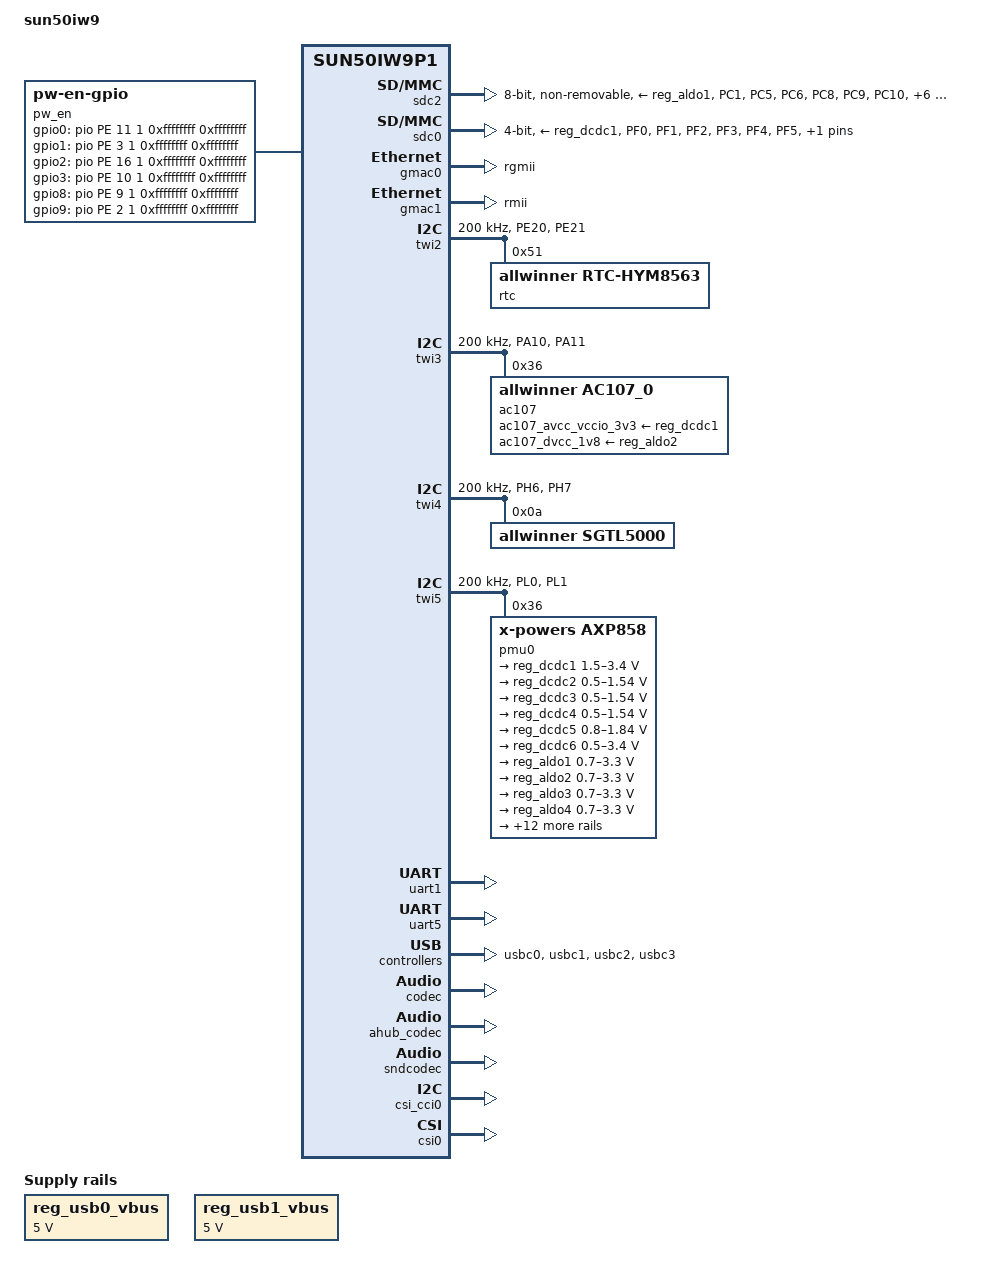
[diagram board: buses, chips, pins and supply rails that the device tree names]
/*
 * Allwinner Technology CO., Ltd. sun8iw19p1 soc board.
 *
 * soc board support.
 */

/dts-v1/;
#include <dt-bindings/input/input.h>
#include "sun50iw9p1.dtsi"               
//#include "rp-lcd-lvds-10.1-1024-600.dtsi"
//#include "rp-lcd-rgb-7-1024-600.dtsi"
//#include "rp-lcd-lvds-21-1920-1080.dtsi"
//#include "rp-lcd-lvds-10.1-1024-600-hdmi.dtsi"
//#include "rp-hdmi.dtsi"
#include "rp-tv.dtsi"

/{
	model = "sun50iw9";
	compatible = "allwinner,t507", "arm,sun50iw9p1";

	reg_usb0_vbus: usb0-vbus {
		compatible = "regulator-fixed";
//		gpio = <&pio PE 2 1 2 0 1>;
		regulator-name = "usb-vbus";
		regulator-min-microvolt = <5000000>;
		regulator-max-microvolt = <5000000>;
		enable-active-high;
	};

	reg_usb1_vbus: usb1-vbus {
		compatible = "regulator-fixed";
//		gpio = <&pio PE 3 1 2 0 1>;
		regulator-name = "usb-vbus";
		regulator-min-microvolt = <5000000>;
		regulator-max-microvolt = <5000000>;
		enable-active-high;
	};
	
       pw_en {
               compatible = "pw-en-gpio";
               gpio0 = <&pio PE 11 1 0xffffffff 0xffffffff 1>;// 5v 3.3V
               gpio1 = <&pio PE 3 1 0xffffffff 0xffffffff 1>; //USB 5V
               gpio2 = <&pio PE 16 1 0xffffffff 0xffffffff 1>;// hub reset
               gpio3 = <&pio PE 10 1 0xffffffff 0xffffffff 1>;// fan
//               gpio4 = <&pio PH 4 1 0xffffffff 0xffffffff 1>;// 
//               gpio5 = <&pio PE 2 1 0xffffffff 0xffffffff 1>;//
//               gpio6 = <&pio PE 16 1 0xffffffff 0xffffffff 1>;// 
//               gpio7 = <&pio PE 2 1 0xffffffff 0xffffffff 1>;//
               gpio8 = <&pio PE 9 1 0xffffffff 0xffffffff 0>;// otg mode
               gpio9 = <&pio PE 2 1 0xffffffff 0xffffffff 0>;// otg pwr
	       pinctrl-0 = <&pwr_pins>;
               status = "okay";
       };
       
       
        rp_gpio{
                status = "okay";
                compatible = "rp_gpio";
                
//                ctp_wakeup = <&pio PH 7 1 0xffffffff 0xffffffff 1>;
/*                
								otg_mode {
						                        gpio_num = <&gpio4 RK_PC5 GPIO_ACTIVE_HIGH>;
						                        gpio_function = <0>;            //0:output 1:input
						                        //gpio_event = <KEY_F14>;
						                        //send_mode = <0>;
								};


                led {
                        gpio_num = <&gpio1 RK_PA2 GPIO_ACTIVE_HIGH>;
                        gpio_function = <0>;            //0:output 1:input
                        //gpio_event = <KEY_F14>;
                        //send_mode = <0>;  
                };
*/               

                led {
                        gpio_num = <&pio PE 19 1 0xffffffff 0xffffffff 1>;
                        gpio_function = <0>;            //0:output 1:input 2:IRQ 3:flash
                        //gpio_event = <KEY_F14>;
                        //send_mode = <0>;  
                };

		/*                
                gpiope12 {
                        gpio_num = <&pio PE 12 1 0xffffffff 0xffffffff 1>;
                        gpio_function = <0>;            //0:output 1:input
//                        gpio_event = <KEY_F8>;
//                        send_mode = <0>;  
                };
               
                gpiope18 {
                        gpio_num = <&pio PE 18 1 0xffffffff 0xffffffff 1>;
                        gpio_function = <0>;            //0:output 1:input
//                        gpio_event = <KEY_F9>;
//                        send_mode = <0>;  
                };
                gpiope19 {
                        gpio_num = <&pio PE 19 1 0xffffffff 0xffffffff 1>;
                        gpio_function = <0>;            //0:output 1:input
//                        gpio_event = <KEY_F10>;
//                        send_mode = <0>;  
                };
                
                gpiope22 {
                        gpio_num = <&pio PE 22 1 0xffffffff 0xffffffff 1>;
                        gpio_function = <0>;            //0:output 1:input
//                        gpio_event = <KEY_F11>;
//                        send_mode = <0>;  
                };
		*/

	};


	soc@03000000 {

		r_pio: pinctrl@07022000 {

			s_twi0_pins_a: s_twi0@0 {
				allwinner,pins = "PL0", "PL1";
				allwinner,pname = "s_twi0_scl", "s_twi0_sda";
				allwinner,function = "s_twi0";
				allwinner,muxsel = <3>;
				allwinner,drive = <0>;
				allwinner,pull = <1>;
			};

			s_twi0_pins_b: s_twi0@1 {
				allwinner,pins = "PL0", "PL1";
				allwinner,function = "io_disabled";
				allwinner,muxsel = <7>;
				allwinner,drive = <0>;
				allwinner,pull = <0>;
			};
		};

		pio: pinctrl@0300b000 {

			/* takes the debounce time in usec as argument */
			input-debounce = <0 0 0 0 0 0 1>;

			spi0_pins_a: spi0@0 {
				allwinner,pins = "PC0", "PC2", "PC4";
				allwinner,pname = "spi0_sclk", "spi0_mosi", "spi0_miso";
				allwinner,function = "spi0";
			};

			spi0_pins_b: spi0@1 {
				allwinner,pins = "PC3", "PC7";
				allwinner,pname = "spi0_cs0", "spi0_cs1";
				allwinner,function = "spi0";
			};

			spi0_pins_c: spi0@2 {
				allwinner,pins = "PC0", "PC2", "PC3", "PC4", "PC7";
				allwinner,function = "io_disabled";
			};

			spi1_pins_a: spi1@0 {
				allwinner,pins = "PH6", "PH7", "PH8";
				allwinner,pname = "spi1_sclk", "spi1_mosi", "spi1_miso";
				allwinner,function = "spi1";
			};

			spi1_pins_b: spi1@1 {
				allwinner,pins = "PH5", "PH9";
				allwinner,pname = "spi1_cs0", "spi1_cs1";
				allwinner,function = "spi1";
			};

			spi1_pins_c: spi1@2 {
				allwinner,pins = "PH5", "PH6", "PH7", "PH8", "PH9";
				allwinner,function = "io_disabled";
			};

			twi0_pins_a: twi0@0 {
				allwinner,pins = "PA0", "PA1";
				allwinner,pname = "twi0_scl", "twi0_sda";
				allwinner,function = "twi0";
				allwinner,muxsel = <4>;
				allwinner,drive = <0>;
				allwinner,pull = <0>;
			};

			twi0_pins_b: twi0@1 {
				allwinner,pins = "PA0", "PA1";
				allwinner,function = "io_disabled";
				allwinner,muxsel = <7>;
				allwinner,drive = <0>;
				allwinner,pull = <0>;
			};

			twi1_pins_a: twi1@0 {
				allwinner,pins = "PI7", "PI8";
				allwinner,pname = "twi1_scl", "twi1_sda";
				allwinner,function = "twi1";
				allwinner,muxsel = <5>;
				allwinner,drive = <1>;
				allwinner,pull = <1>;
			};

			twi1_pins_b: twi1@1 {
				allwinner,pins = "PI7", "PI8";
				allwinner,function = "io_disabled";
				allwinner,muxsel = <7>;
				allwinner,drive = <1>;
				allwinner,pull = <0>;
			};

			twi2_pins_a: twi2@0 {
				allwinner,pins = "PE20", "PE21";
				allwinner,pname = "twi2_scl", "twi2_sda";
				allwinner,function = "twi2";
				allwinner,muxsel = <5>;
				allwinner,drive = <1>;
				allwinner,pull = <1>;
			};

			twi2_pins_b: twi2@1 {
				allwinner,pins = "PE20", "PE21";
				allwinner,function = "io_disabled";
				allwinner,muxsel = <7>;
				allwinner,drive = <0>;
				allwinner,pull = <0>;
			};

			twi3_pins_a: twi3@0 {
				allwinner,pins = "PA10", "PA11";
				allwinner,pname = "twi3_scl", "twi3_sda";
				allwinner,function = "twi3";
				allwinner,muxsel = <2>;
				allwinner,drive = <0>;
				allwinner,pull = <1>;
			};

			twi3_pins_b: twi3@1 {
				allwinner,pins = "PA10", "PA11";
				allwinner,function = "io_disabled";
				allwinner,muxsel = <7>;
				allwinner,drive = <0>;
				allwinner,pull = <0>;
			};

			twi4_pins_a: twi4@0 {
				allwinner,pins = "PH6", "PH7";
				allwinner,pname = "twi4_scl", "twi4_sda";
				allwinner,function = "twi4";
				allwinner,muxsel = <5>;
				allwinner,drive = <1>;
				allwinner,pull = <1>;
			};

			twi4_pins_b: twi4@1 {
				allwinner,pins = "PH6", "PH7";
				allwinner,function = "io_disabled";
				allwinner,muxsel = <7>;
				allwinner,drive = <1>;
				allwinner,pull = <0>;
			};

                        ahub_daudio2_pins_a: ahub_daudio2@0 {
                                allwinner,pins = "PG10", "PG11", "PG12", "PG13", "PG14";
                                allwinner,function = "h_i2s2";
                                allwinner,muxsel = <2>;
                                allwinner,drive = <1>;
                                allwinner,pull = <0>;
                        };

                        ahub_daudio2_pins_b: ahub_daudio2_sleep@0 {
                                allwinner,pins = "PG10", "PG11", "PG12", "PG13", "PG14";
                                allwinner,function = "io_disabled";
                                allwinner,muxsel = <7>;
                                allwinner,drive = <1>;
                                allwinner,pull = <0>;
                        };

			scr0_pins_a: scr0@0 {
				allwinner,pins = "PD17", "PD18", "PD14", "PD15", "PD16";
				allwinner,pname = "scr0_rst", "scr0_det", "scr0_vccen", "scr0_sck", "scr0_sda";
			};

			sdc0_pins_a: sdc0@0 {
				allwinner,pins = "PF0", "PF1", "PF2",
						 "PF3", "PF4", "PF5";
				allwinner,function = "sdc0";
				allwinner,muxsel = <2>;
				allwinner,drive = <3>;
				allwinner,pull = <1>;
			};

			sdc0_pins_c: sdc0@2 {
				allwinner,pins = "PF0", "PF1",
						 "PF3", "PF5";
				allwinner,function = "uart0_jtag";
				allwinner,muxsel = <3>;
				allwinner,drive = <1>;
				allwinner,pull = <1>;
			};

			sdc1_pins_a: sdc1@0 {
				allwinner,pins = "PG0", "PG1", "PG2",
						 "PG3", "PG4", "PG5";
				allwinner,function = "sdc1";
				allwinner,muxsel = <2>;
				allwinner,drive = <3>;
				allwinner,pull = <1>;
			};

			sdc2_pins_a: sdc2@0 {
				allwinner,pins = "PC1", "PC5", "PC6",
						 "PC8", "PC9", "PC10", "PC11",
						 "PC13", "PC14", "PC15", "PC16";
				allwinner,function = "sdc2";
				allwinner,muxsel = <3>;
				allwinner,drive = <2>;
				allwinner,pull = <1>;
			};

			sdc2_pins_b: sdc2@1 {
				allwinner,pins = "PC0", "PC1", "PC5", "PC6",
						 "PC8", "PC9", "PC10", "PC11",
						 "PC13", "PC14", "PC15", "PC16";
				allwinner,function = "io_disabled";
				allwinner,muxsel = <7>;
				allwinner,drive = <1>;
				allwinner,pull = <1>;
			};

			sdc2_pins_c: sdc2@2 {
				allwinner,pins = "PC0";
				allwinner,function = "sdc2";
				allwinner,muxsel = <3>;
				allwinner,drive = <2>;
				allwinner,pull = <2>;
			};

			pwm0_pin_a: pwm0@0 {
				allwinner,pins = "PD28";
				allwinner,function = "pwm0";
				allwinner,muxsel = <0x02>;
				allwinner,drive = <0xffffffff>;
				allwinner,pull = <1>;
				allwinner,data = <0xffffffff>;
			};

			pwm0_pin_b: pwm0@1 {
				allwinner,pins = "PD28";
				allwinner,function = "io_disabled";
				allwinner,muxsel = <0x07>;
				allwinner,drive = <0xffffffff>;
				allwinner,pull = <0>;
				allwinner,data = <0xffffffff>;
			};
		};

		spi0: spi@05010000 {
			pinctrl-0 = <&spi0_pins_a &spi0_pins_b>;
			pinctrl-1 = <&spi0_pins_c>;
			spi_slave_mode = <0>;
			status = "disabled";
			spi_board0 {
				device_type = "spi_board0";
				compatible = "spidev";
				spi-max-frequency = <0x5f5e100>;
				reg = <0x0>;
			};
		};

		spi1: spi@05011000 {
			pinctrl-0 = <&spi1_pins_a &spi1_pins_b>;
			pinctrl-1 = <&spi1_pins_c>;
			spi_slave_mode = <0>;
			status = "disabled";
			spi_board1 {
				device_type = "spi_board1";
				compatible = "rohm,dh2228fv";
				spi-max-frequency = <0x5f5e100>;
				reg = <0x0>;
				spi-rx-bus-width = <0x1>;
				spi-tx-bus-width = <0x1>;
			};
		};

		sdc2: sdmmc@04022000 {
			pinctrl-0 = <&sdc2_pins_a &sdc2_pins_c>;
			non-removable;
			bus-width = <8>;
			mmc-ddr-1_8v;
			mmc-hs200-1_8v;
			mmc-hs400-1_8v;
			no-sdio;
			no-sd;
			cap-mmc-highspeed;
			sunxi-power-save-mode;
			sunxi-dis-signal-vol-sw;
			max-frequency = <100000000>;
			ctl-spec-caps = <0x308>;
			vmmc-supply = <&reg_aldo1>;
			vqmmc-supply = <&reg_dcdc1>;
			status = "okay";
		};

		sdc0: sdmmc@04020000 {
			pinctrl-0 = <&sdc0_pins_a>;
			bus-width = <4>;
			cd-gpios = <&pio PF 6 6 1 3 0xffffffff>;
			cd-used-24M;
			/*non-removable;*/
			/*broken-cd;*/
			/*cd-inverted*/
			/*data3-detect;*/
			cap-sd-highspeed;
			sd-uhs-sdr50;
			sd-uhs-ddr50;
			sd-uhs-sdr104;
			no-sdio;
			no-mmc;
			sunxi-power-save-mode;
			sunxi-signal-vol-sw-without-pmu;
			/*sunxi-dis-signal-vol-sw;*/
			max-frequency = <150000000>;
			ctl-spec-caps = <0x8>;
			vmmc-supply = <&reg_dcdc1>;
			vqmmc33sw-supply = <&reg_dcdc1>;
			vdmmc33sw-supply = <&reg_dcdc1>;
			vqmmc18sw-supply = <&reg_aldo2>;
			vdmmc18sw-supply = <&reg_aldo2>;
			status = "okay";
		};

		sdc1: sdmmc@04021000 {
			pinctrl-0 = <&sdc1_pins_a>;
			bus-width = <4>;
			no-mmc;
			no-sd;
			cap-sd-highspeed;
			/*sd-uhs-sdr12*/
			/*sd-uhs-sdr25*/
			/*sd-uhs-sdr50;*/
			/*sd-uhs-ddr50;*/
			/*sd-uhs-sdr104*/
			/*sunxi-power-save-mode;*/
			sunxi-dis-signal-vol-sw;
			cap-sdio-irq;
			keep-power-in-suspend;
			ignore-pm-notify;
			max-frequency = <50000000>;
			ctl-spec-caps = <0x8>;
			status = "disabled";
		};

		gmac0: eth@05020000{
			phy-mode = "rgmii";
			phy-rst = <&pio PI 6 1 1 1 0>;
			use_ephy25m = <1>;
			tx-delay = <2>;
			rx-delay = <23>;
			gmac-power0-supply = <&reg_cldo3>;
			gmac-power1-supply;
			gmac-power2-supply;
			gmac-power0-vol = <3300000>;
			gmac-power1-vol;
			gmac-power2-vol;
			status = "okay";
		};

		gmac1: eth@05030000{
			phy-mode = "rmii";
			phy-rst = <&pio PH 5 1 1 1 0>;
			use_ephy25m = <0>;
			tx-delay = <7>;
			rx-delay = <0>;
			gmac-power0-supply = <&reg_cldo3>;
			gmac-power1-supply;
			gmac-power2-supply;
			gmac-power0-vol = <3300000>;
			gmac-power1-vol;
			gmac-power2-vol;
			status = "okay";
		};

		twi0: twi@0x05002000{
			clock-frequency = <400000>;
			pinctrl-0 = <&twi0_pins_a>;
			pinctrl-1 = <&twi0_pins_b>;
			twi-supply = <&reg_dcdc1>;
			status = "disabled";
		};

		twi1: twi@0x05002400{
			clock-frequency = <200000>;
			pinctrl-0 = <&twi1_pins_a>;
			pinctrl-1 = <&twi1_pins_b>;
			twi-supply = <&reg_cldo3>;
			status = "disabled";

			it6807 {
				compatible = "allwinner,it6807_0";
				device_type = "it6807_0";
				reg = <0x48>;
				status = "disabled";
				it6807_twi_id = <0x1>;
				it6807_twi_addr = <0x48>;
				it6807_reset = <&pio PI 0 1 0xffffffff 0xffffffff 0>;
				it6807_backlight = <&pio PI 11 1 0xffffffff 0xffffffff 0>;
				it6807_hdmi_vcc_3v3-supply = <&reg_sw>;
				it6807_vcc_3v3-supply = <&reg_bldo3>;
			};
		};

		twi2: twi@0x05002800{
			clock-frequency = <200000>;
			pinctrl-0 = <&twi2_pins_a>;
			pinctrl-1 = <&twi2_pins_b>;
			twi-supply = <&reg_dcdc1>;
			status = "okay";
/*			
			pcf8563: rtc@51 {
				compatible = "nxp,pcf8563";
				reg = <0x51>;
			};
*/			
			rtc@51 {
                compatible = "allwinner,rtc-hym8563";
//                compatible = "haoyu,hym8563";
                reg = <0x51>;
            }; 
			 
			
		};

		twi3: twi@0x05002c00{
			clock-frequency = <200000>;
			pinctrl-0 = <&twi3_pins_a>;
			pinctrl-1 = <&twi3_pins_b>;
			twi-supply = <&reg_dcdc1>;
			status = "okay";
			/* audio: add ac107 capture */
			ac107@36 {
				compatible = "allwinner,ac107_0";
				device_type = "ac107_0";
				reg = <0x36>;
				ac107_avcc_vccio_3v3-supply = <&reg_dcdc1>;
				ac107_dvcc_1v8-supply = <&reg_aldo2>;
			};

		};

		twi4: twi@0x05003000{
			clock-frequency = <200000>;
			pinctrl-0 = <&twi4_pins_a>;
			pinctrl-1 = <&twi4_pins_b>;
			twi-supply = <&reg_cldo2>;
			status = "okay";
			
			sgtl5000@2a {
				compatible = "allwinner,sgtl5000";
				device_type = "sgtl5000";
				clocks = <&clk_pll_audio>;	
				reg = <0x0a>;
				pinctrl-0     = <&ahub_daudio2_pins_a>;
				pinctrl-names = "default";
			        micbias-resistor-k-ohms = <4>;
                                micbias-voltage-m-volts = <2250>;
	
				//ac107_avcc_vccio_3v3-supply = <&reg_dcdc1>;
				//ac107_dvcc_1v8-supply = <&reg_aldo2>;
			};

			ncs8801s_two_1 {
				compatible = "allwinner,ncs8801s_two";
				reg = <0x70>;
				device_type = "ncs8801s_0";
				status = "disabled";
				ncs8801s_two_twi_id = <0x5>;
				ncs8801s_two_twi_addr = <0x70>;
				ncs8801s_two_reset = <&pio PE 17 1 0xffffffff 0xffffffff 0>;
				ncs8801s-supply = <&reg_aldo5>;
				nsc8801s_power_vol = <1200>;
			};

			ncs8801s_two_2 {
				compatible = "allwinner,ncs8801s_two";
				reg = <0x75>;
				device_type = "ncs8801s_1";
				status = "disabled";
				ncs8801s_two_2_twi_id = <0x5>;
				ncs8801s_two_2_twi_addr = <0x75>;
			};
			
		};

		twi5: twi@0x07081400{
			clock-frequency = <200000>;
			pinctrl-0 = <&s_twi0_pins_a>;
			pinctrl-1 = <&s_twi0_pins_b>;
			status = "okay";
		};

		pwm0: pwm0@0300a000 {
			pinctrl-names = "active", "sleep";
			pinctrl-0 = <&pwm0_pin_a>;
			pinctrl-1 = <&pwm0_pin_b>;
		};

		/*
		sdc1: sdmmc@04021000 {
			status = "okay";
		};
		*/

		uart1: uart@05000400 {
			status = "okay";
		};
		
		
		uart2: uart@05000800 {
			uart2_type = <2>;
			status = "disabled";
		};

		uart3: uart@05000c00 {
			uart3_type = <2>;
			status = "disabled";
		};

		uart4: uart@05001000 {
			uart-supply = <&reg_cldo3>;
			uart4_type = <2>;
			status = "disabled";
		};

		uart5: uart@05001400 {
			uart5_type = <2>;
			status = "okay";
		};

		tda7729 {
			device_type = "tda7729";
			status = "okay";
			tda7729_twi_id = <0x1>;
			twi_addr = <0x44>;
//			tda7729_power = <&pio PH 9 1 0xffffffff 0xffffffff 0>;
		};

		ncs8801s {
			device_type = "ncs8801s_0";
			status = "okay";
			ncs8801s_reset = <&pio PE 17 1 0xffffffff 0xffffffff 0>;
		};

		wlan:wlan {
			compatible    = "allwinner,sunxi-wlan";
			clocks        = <&clk_losc_out>;
			pinctrl-0     = <&clk_losc_pins_a>;
			pinctrl-names = "default";
			wlan_busnum   = <0x1>;
			wlan_power    = "axp858-dcdc1";
			wlan_io_regulator = "axp858-cldo2";
			wlan_regon    = <&pio PE 5 1 0xffffffff 0xffffffff 1>;
			wlan_hostwake = <&pio PE 4 6 0xffffffff 0xffffffff 1>;
			chip_en;
			power_en;
			status        = "disabled";
		};

		bt:bt {
			compatible    = "allwinner,sunxi-bt";
			clocks        = <&clk_losc_out>;
			bt_power      = "axp858-dcdc1";
			bt_io_regulator = "axp858-cldo2";
			bt_rst_n      = <&pio PE 8 1 0xffffffff 0xffffffff 0>;
			status        = "disabled";
		};

		btlpm:btlpm {
			compatible  = "allwinner,sunxi-btlpm";
			uart_index  = <0x1>;
			bt_wake     = <&pio PE 7 1 0xffffffff 0xffffffff 1>;
			bt_hostwake = <&pio PE 6 6 0xffffffff 0xffffffff 0>;
			status      = "disabled";
		};
		car_reverse:car_reverse {
			compatible  = "allwinner,sunxi-car-reverse";
			tvd_id  = <0x5>;
			screen_width = <1280>;
			screen_height = <800>;
			rotation = <0x0>;
			source = <0x1>;
			oview = <0x0>;
			reverse_pin = <&pio PI 15 6 0 1 0>;
			status      = "disabled";
		};
		addr_mgt:addr_mgt {
			compatible     = "allwinner,sunxi-addr_mgt";
			type_addr_wifi = <0x0>;
			type_addr_bt   = <0x0>;
			type_addr_eth  = <0x0>;
			status         = "okay";
		};

		usbc0:usbc0@0 {
			device_type		= "usbc0";
			usb_port_type		= <0x2>;
			usb_detect_type		= <0x1>;
			usb_detect_mode		= <0x0>;
			usb_id_gpio		= <&pio PE 0 0 1 0 0>;
			usb_det_vbus_gpio	= <&pio PE 1 0 1 0 0>;
			usb_regulator_io	= "nocare";
			usb_wakeup_suspend	= <0x0>;
			usb_luns		= <0x3>;
			usb_serial_unique	= <0x0>;
			usb_serial_number	= "20080411";
			status			= "okay";
		};

		ehci0:ehci0-controller@0x05101000 {
			drvvbus-supply = <&reg_usb0_vbus>;
		};

		ohci0:ohci0-controller@0x05101400 {
			drvvbus-supply = <&reg_usb0_vbus>;
		};

		usbc1:usbc1@0 {
			device_type		= "usbc1";
			usb_regulator_io	= "nocare";
			usb_wakeup_suspend	= <0x0>;
			status			= "okay";
		};

		ehci1:ehci1-controller@0x05200000 {
			drvvbus-supply = <&reg_usb1_vbus>;
		};

		ohci1:ohci1-controller@0x05200400 {
			drvvbus-supply = <&reg_usb1_vbus>;
		};

		usbc2:usbc2@0 {
			device_type		= "usbc2";
			usb_drv_vbus_gpio;
			usb_regulator_io	= "nocare";
			usb_wakeup_suspend	= <0x0>;
			status			= "okay";
		};

		usbc3:usbc3@0 {
			device_type		= "usbc3";
			usb_drv_vbus_gpio;
			usb_regulator_io	= "nocare";
			usb_wakeup_suspend	= <0x0>;
			status			= "okay";
		};

		/* audio dirver module */
		codec:codec@0x05096000 {
			adcdrc_cfg  = <0x00>;
			adchpf_cfg  = <0x00>;
			dacdrc_cfg  = <0x00>;
			dachpf_cfg  = <0x00>;
			fmin_gain   = <0x03>;
			linein_gain = <0x03>;
			digital_vol = <0x00>;
			lineout_vol = <0x1f>;
			/* gpio-spk */
//			gpio-spk = <&pio PH 9 1 0xffffffff 0xffffffff 0>;
			gpio-spk = <&pio PE 13 1 0xffffffff 0xffffffff 0>;
			pa_ctl_level   = <0x01>;
			pa_msleep_time = <0x78>;
			ramp_func_used = <0x01>;
			avcc-supply = <&reg_aldo2>;
			status = "okay";
		};

		spdif:spdif-controller@0x05093000{
			status = "disabled";
		};

		dmic:dmic-controller@0x05095000{
			status = "disabled";
		};

		ahub_codec:ahub_codec@0x05097000{
			status = "okay";
		};

		ahub_daudio0:ahub_daudio0@0x05097000{
			pinconfig 		= <0x01>;
			frametype 		= <0x00>;
			pcm_lrck_period		= <0x20>;
			slot_width_select	= <0x20>;
			daudio_master		= <0x04>;
			audio_format  		= <0x01>;
			signal_inversion 	= <0x01>;
			tdm_config		= <0x01>;
			mclk_div 		= <0x08>;
			status = "disabled";
		};

		ahub_daudio1:ahub_daudio1@0x05097000{
			pinconfig 		= <0x00>;
			frametype 		= <0x00>;
			pcm_lrck_period 	= <0x20>;
			slot_width_select 	= <0x20>;
			daudio_master 		= <0x04>;
			audio_format 		= <0x01>;
			signal_inversion 	= <0x01>;
			tdm_config 		= <0x01>;
			mclk_div 		= <0x01>;
			status = "disabled";
		};

		ahub_daudio2:ahub_daudio2@0x05097000{
			pinconfig 		= <0x00>;
			frametype 		= <0x00>;
			pcm_lrck_period 	= <0x20>;
			slot_width_select 	= <0x20>;
			daudio_master 		= <0x04>;
			audio_format 		= <0x01>;
			signal_inversion 	= <0x01>;
			tdm_config 		= <0x01>;
			mclk_div 		= <0x04>;
			//pinctrl-0 = <&ahub_daudio2_pins_a>;
                        //pinctrl-1 = <&ahub_daudio2_pins_b>;
			status = "okay";
		};

		ahub_daudio3:ahub_daudio3@0x05097000{
			pinconfig 		= <0x01>;
			frametype 		= <0x00>;
			pcm_lrck_period 	= <0x20>;
			slot_width_select 	= <0x20>;
			daudio_master 		= <0x04>;
			audio_format 		= <0x01>;
			signal_inversion 	= <0x01>;
			tdm_config 		= <0x01>;
			mclk_div 		= <0x08>;
			status = "disabled";
		};

		snddaudio3:sound@3{
			/* ac107-codec throught daudio0*/
			sunxi,snddaudio-codec = "ac107.3-0036";
			sunxi,snddaudio-codec-dai = "ac107-pcm0";
			status = "disabled";
		};

		/*
		sndhdmi:sound@1{
			status = "okay";
		};*/

		snddaudio2:sound@2{
			sunxi,snddaudio-codec = "sgtl5000.4-000a";
			sunxi,snddaudio-codec-dai = "sgtl5000";
			status = "okay";
		};

		snddaudio0:sound@0{
			/* acx00-codec throught mfd_add_devices */
			/*
			sunxi,snddaudio-codec = "acx00-codec";
			sunxi,snddaudio-codec-dai = "acx00-dai";
			*/
			status = "disabled";
		};

		sndspdif:sound@4{
			status = "disabled";
		};

		snddmic:sound@5{
			status = "disabled";
		};

		sndcodec:sound@6{
			status = "okay";
		};

		sndahub:sound@7{
			status = "okay";
		};
/*--------------------------------------------------------------------------------
vin (video input modules) configuration
vind(x)_used: 0:disable 1:enable, main node for vin
csi(x)_used: 0:disable 1:enable
flash(x)_used: 0:disable 1:enable
flash(x)_type: 0:FLASH_RELATING, 1:FLASH_EN_INDEPEND, 2:FLASH_POWER
flash(x)_en: flash enable gpio, type = 0 of 1
flash(x)_mode: flash mode gpio, type = 0 of 1
flash(x)_flvdd: flash module io power handle string, pmu power supply, type = 2
flash(x)_flvdd_vol: flash module io power voltage, pmu power supply, type = 2
actuator(x)_used: 0:disable 1:enable
actuator(x)_name: vcm name
actuator(x)_slave: vcm iic slave address
actuator(x)_af_pwdn: vcm power down gpio
actuator(x)_afvdd: vcm power handle string, pmu power supply
actuator(x)_afvdd_vol: vcm power voltage, pmu power supply
sensor(x)_used: 0:disable 1:enable
sensor(x)_isp_used 0:not use isp 1:use isp
sensor(x)_fmt: 0:yuv 1:bayer raw rgb
sensor(x)_stby_mode: 0:not shut down power at standby 1:shut down power at standby
sensor(x)_vflip: flip in vertical direction 0:disable 1:enable
sensor(x)_hflip: flip in horizontal direction 0:disable 1:enable
sensor(x)_cameravdd-supply: camera module power handle string, pmu power supply
sensor(x)_cameravdd_vol: camera module power voltage, pmu power supply
sensor(x)_iovdd-supply: camera module io power handle string, pmu power supply
sensor(x)_iovdd_vol: camera module io power voltage, pmu power supply
sensor(x)_avdd-supply: camera module analog power handle string, pmu power supply
sensor(x)_avdd_vol: camera module analog power voltage, pmu power supply
sensor(x)_dvdd-supply: camera module core power handle string, pmu power supply
sensor(x)_dvdd_vol: camera module core power voltage, pmu power supply
sensor(x)_power_en: camera module power enable gpio
sensor(x)_reset: camera module reset gpio
sensor(x)_pwdn: camera module pwdn gpio
fill voltage in uV, e.g. iovdd = 2.8V, sensorx_iovdd_vol = 2800000
fill handle string as below:
<&reg_bldo3>
<&reg_bldo4>
<&reg_bldo5>
fill handle string "" when not using any pmu power supply
vinc(x)_used: 0:disable 1:enable
vinc(x)_sensor_list: use sensor list
--------------------------------------------------------------------------------*/
		vind0:vind@0 {
			vind0_clk = <324000000>;
			status = "okay";

			csi_cci0:cci@0 {
				status = "okay";
			};
			csi_cci1:cci@1 {
				status = "disabled";
			};
			csi0:csi@0 {
				status = "okay";
			};
			csi1:csi@1 {
				status = "disabled";
			};
			actuator0:actuator@0 {
				device_type = "actuator0";
				actuator0_name = "ad5820_act";
				actuator0_slave = <0x18>;
				actuator0_af_pwdn = <>;
				actuator0_afvdd = "afvcc-csi";
				actuator0_afvdd_vol = <2800000>;
				status = "disabled";
			};
			flash0:flash@0 {
				device_type = "flash0";
				flash0_type = <2>;
				flash0_en = <>;
				flash0_mode = <>;
				flash0_flvdd = "";
				flash0_flvdd_vol = <>;
				device_id = <0>;
				status = "disabled";
			};
			sensor0:sensor@0 {
				device_type = "sensor0";
				sensor0_mname = "ov5640_mipi";
				sensor0_twi_cci_id = <0>;
				sensor0_twi_addr = <0x78>;
				sensor0_mclk_id = <0>;
				sensor0_pos = "rear";
				sensor0_isp_used = <0>;
				sensor0_fmt = <0>;
				sensor0_stby_mode = <0>;
				sensor0_vflip = <0>;
				sensor0_hflip = <0>;
				sensor0_iovdd-supply = <&reg_bldo1>;
				sensor0_iovdd_vol = <1800000>;
				/*
				sensor0_avdd-supply = <&reg_cldo1>;
				sensor0_avdd_vol = <3300000>;
				sensor0_dvdd-supply = <&reg_bldo5>;
				sensor0_dvdd_vol = <1200000>;
				*/
				sensor0_power_en = <&pio PC 7 1 0 1 1>;
				sensor0_reset = <&pio PC 12 1 0 1 0>;
				sensor0_pwdn = <&pio PC 2 1 0 1 1>;
				sensor0_sm_vs = <>;
				status	= "okay";
			};
			sensor1:sensor@1 {
				device_type = "sensor1";
				sensor1_mname = "nvp6158";
				sensor1_twi_cci_id = <1>;
				sensor1_twi_addr = <0x64>;
				sensor1_mclk_id = <1>;
				sensor1_pos = "front";
				sensor1_isp_used = <0>;
				sensor1_fmt = <0>;
				sensor1_stby_mode = <0>;
				sensor1_vflip = <0>;
				sensor1_hflip = <0>;
				sensor1_cameravdd-supply = <&reg_aldo5>;
				sensor1_cameravdd_vol = <3300000>;
				sensor1_iovdd-supply = <&reg_bldo3>;
				sensor1_iovdd_vol = <3300000>;
				sensor1_avdd-supply = <&reg_bldo4>;
				sensor1_avdd_vol = <1200000>;
				sensor1_dvdd-supply = <&reg_bldo5>;
				sensor1_dvdd_vol = <1200000>;
				sensor1_power_en = <>;
				sensor1_reset = <&pio PI 12 1 0 1 0>;
				sensor1_pwdn = <&pio PI 14 1 0 1 0>;
				sensor1_sm_vs = <>;
				status	= "disabled";
			};
			vinc0:vinc@0 {
				vinc0_csi_sel = <0>;
				vinc0_mipi_sel = <0>;
				vinc0_isp_sel = <0>;
				vinc0_isp_tx_ch = <0>;
				vinc0_rear_sensor_sel = <0>;
				vinc0_front_sensor_sel = <0>;
				vinc0_sensor_list = <0>;
				status = "okay";
			};
			vinc1:vinc@1 {
				vinc1_csi_sel = <0>;
				vinc1_mipi_sel = <0>;
				vinc1_isp_sel = <0>;
				vinc1_isp_tx_ch = <1>;
				vinc1_rear_sensor_sel = <0>;
				vinc1_front_sensor_sel = <0>;
				vinc1_sensor_list = <0>;
				status = "okay";
			};
			vinc2:vinc@2 {
				vinc2_csi_sel = <1>;
				vinc2_mipi_sel = <0xff>;
				vinc2_isp_sel = <1>;
				vinc2_isp_tx_ch = <0>;
				vinc2_rear_sensor_sel = <1>;
				vinc2_front_sensor_sel = <1>;
				vinc2_sensor_list = <0>;
				status = "okay";
			};
			vinc3:vinc@3 {
				vinc3_csi_sel = <1>;
				vinc3_mipi_sel = <0xff>;
				vinc3_isp_sel = <1>;
				vinc3_isp_tx_ch = <1>;
				vinc3_rear_sensor_sel = <1>;
				vinc3_front_sensor_sel = <1>;
				vinc3_sensor_list = <0>;
				status = "okay";
			};
			vinc4:vinc@4 {
				vinc4_csi_sel = <1>;
				vinc4_mipi_sel = <0xff>;
				vinc4_isp_sel = <1>;
				vinc4_isp_tx_ch = <2>;
				vinc4_rear_sensor_sel = <1>;
				vinc4_front_sensor_sel = <1>;
				vinc4_sensor_list = <0>;
				status = "disabled";
			};
			vinc5:vinc@5 {
				vinc5_csi_sel = <1>;
				vinc5_mipi_sel = <0xff>;
				vinc5_isp_sel = <1>;
				vinc5_isp_tx_ch = <3>;
				vinc5_rear_sensor_sel = <1>;
				vinc5_front_sensor_sel = <1>;
				vinc5_sensor_list = <0>;
				status = "disabled";
			};
		};

///*----------------------------------------------------------------------------------
//disp init configuration
//
//disp_mode             (0:screen0<screen0,fb0>)
//screenx_output_type   (0:none; 1:lcd; 2:tv; 3:hdmi;5:vdpo)
//screenx_output_mode   (used for hdmi output, 0:480i 1:576i 2:480p 3:576p 4:720p50)
//                      (5:720p60 6:1080i50 7:1080i60 8:1080p24 9:1080p50 10:1080p60)
//screenx_output_format (for hdmi, 0:RGB 1:yuv444 2:yuv422 3:yuv420)
//screenx_output_bits   (for hdmi, 0:8bit 1:10bit 2:12bit 2:16bit)
//screenx_output_eotf   (for hdmi, 0:reserve 4:SDR 16:HDR10 18:HLG)
//screenx_output_cs     (for hdmi, 0:undefined  257:BT709 260:BT601  263:BT2020)
//screenx_output_dvi_hdmi (for hdmi, 0:undefined 1:dvi mode 2:hdmi mode)
//screen0_output_range   (for hdmi, 0:default 1:full 2:limited)
//screen0_output_scan    (for hdmi, 0:no data 1:overscan 2:underscan)
//screen0_output_aspect_ratio  (for hdmi, 8-same as original picture 9-4:3 10-16:9 11-14:9)
//fbx format            (4:RGB655 5:RGB565 6:RGB556 7:ARGB1555 8:RGBA5551 9:RGB888 10:ARGB8888 12:ARGB4444)
//fbx pixel sequence    (0:ARGB 1:BGRA 2:ABGR 3:RGBA)
//fb0_scaler_mode_enable(scaler mode enable, used FE)
//fbx_width,fbx_height  (framebuffer horizontal/vertical pixels, fix to output resolution while equal 0)
//lcdx_backlight        (lcd init backlight,the range:[0,256],default:197
//lcdx_yy               (lcd init screen bright/contrast/saturation/hue, value:0~100, default:50/50/57/50)
//lcd0_contrast         (LCD contrast, 0~100)
//lcd0_saturation       (LCD saturation, 0~100)
//lcd0_hue              (LCD hue, 0~100)
//framebuffer software rotation setting:
//disp_rotation_used:   (0:disable; 1:enable,you must set fbX_width to lcd_y,
//set fbX_height to lcd_x)
//degreeX:              (X:screen index; 0:0 degree; 1:90 degree; 3:270 degree)
//degreeX_Y:            (X:screen index; Y:layer index 0~15; 0:0 degree; 1:90 degree; 3:270 degree)
//devX_output_type : config output type in bootGUI framework in UBOOT-2018.
//				   (0:none; 1:lcd; 2:tv; 4:hdmi;)
//devX_output_mode : config output resolution(see include/video/sunxi_display2.h) of bootGUI framework in UBOOT-2018
//devX_screen_id   : config display index of bootGUI framework in UBOOT-2018
//devX_do_hpd      : whether do hpd detectation or not in UBOOT-2018
//chn_cfg_mode     : Hardware DE channel allocation config. 0:single display with 6
//				   channel, 1:dual display with 4 channel in main display and 2 channel in second
//                   display, 2:dual display with 3 channel in main display and 3 channel in second
//                   in display.
//----------------------------------------------------------------------------------*/
//		disp: disp@01000000 {
//			disp_init_enable         = <1>;
//			disp_mode                = <0>;
//
//			screen0_output_type      = <1>;
//			screen0_output_mode      = <4>;
//
//			screen1_output_type      = <3>;
//			screen1_output_mode      = <10>;
//
//			screen1_output_format    = <0>;
//			screen1_output_bits      = <0>;
//			screen1_output_eotf      = <4>;
//			screen1_output_cs        = <257>;
//			screen1_output_dvi_hdmi  = <2>;
//			screen1_output_range     = <2>;
//			screen1_output_scan      = <0>;
//			screen1_output_aspect_ratio = <8>;
//
//			dev0_output_type         = <1>;
//			dev0_output_mode         = <4>;
//			dev0_screen_id           = <0>;
//			dev0_do_hpd              = <0>;
//
//			dev1_output_type         = <4>;
//			dev1_output_mode         = <10>;
//			dev1_screen_id           = <1>;
//			dev1_do_hpd              = <1>;
//
//			def_output_dev           = <0>;
//			hdmi_mode_check          = <1>;
//
//			fb0_format               = <0>;
//			fb0_width                = <1024>;
//			fb0_height               = <600>;
//
//			fb1_format               = <0>;
//			fb1_width                = <0>;
//			fb1_height               = <0>;
//			chn_cfg_mode             = <1>;
//
//			disp_para_zone           = <1>;
//			/* VCC-LCD */
//			dc1sw-supply = <&reg_sw>;
//			/* VCC-LVDS and VCC-HDMI */
//			bldo1-supply = <&reg_bldo1>;
//			/* VCC-TV */
//			cldo4-supply = <&reg_cldo4>;
//		};
//
//		hdmi: hdmi@06000000 {
//			hdmi_used = <1>;
//
//			bldo1-supply = <&reg_bldo1>;
//			hdmi_power_cnt = <1>;
//			hdmi_power0 = "bldo1";
//
//			hdmi_hdcp_enable = <1>;
//			hdmi_hdcp22_enable = <1>;
//
//			hdmi_cec_support = <1>;
//			hdmi_cec_super_standby = <0>;
//
//			ddc_en_io_ctrl = <0>;
//			power_io_ctrl = <0>;
//		};
//
///*----------------------------------------------------------------------------------
//;lcd0 configuration
//
//;lcd_if:               0:hv(sync+de); 1:8080; 2:ttl; 3:lvds; 4:dsi; 5:edp; 6:extend dsi
//;lcd_hv_if             0:Parallel RGB; 8:Serial RGB; 10:Dummy RGB; 11: RGB Dummy;12:CCIR656
//;lcd_hv_clk_phase      0:0 degree;1:90 degree;2:180 degree;3:270 degree
//;lcd_hv_sync_polarity  0:vs low,hs low; 1:vs high,hslow; 2:vs low,hs high; 3:vs high,hs high
//;lcd_hv_syuv_seq       0:YUYV; 1:YVYU; 2:UYVY; 3:VYUY
//;lcd_cpu_if            0:18bit/1 cycle parallel(RGB666); 4:16bit/1cycle parallel (RGB565)
//;                      6:18bit/3 cycle parallel(RGB666); 7:16bit/2cycle parallel (RGB565)
//;lcd_cpu_te            0:frame auto trigger; 1:frame triggered by te rising edge; 2:frame triggered by te falling edge;
//;lcd_dsi_if            0:video mode; 1: Command mode; 2:video burst mode
//;lcd_dsi_te            0:frame auto trigger; 1:frame triggered by te rising edge; 2:frame triggered by te falling edge;
//;lcd_x:                lcd horizontal resolution
//;lcd_y:                lcd vertical resolution
//;lcd_width:            width of lcd in mm
//;lcd_height:           height of lcd in mm
//;lcd_dclk_freq:        in MHZ unit
//;lcd_pwm_freq:         in HZ unit
//;lcd_pwm_pol:          lcd backlight PWM polarity
//;lcd_pwm_max_limit     lcd backlight PWM max limit(<=255)
//;lcd_hbp:              hsync back porch(pixel) + hsync plus width(pixel);
//;lcd_ht:               hsync total cycle(pixel)
//;lcd_vbp:              vsync back porch(line) + vysnc plus width(line)
//;lcd_vt:               vysnc total cycle(line)
//;lcd_hspw:             hsync plus width(pixel)
//;lcd_vspw:             vysnc plus width(pixel)
//;lcd_lvds_if:          0:single link;  1:dual link
//;lcd_lvds_colordepth:  0:8bit; 1:6bit
//;lcd_lvds_mode:        0:NS mode; 1:JEIDA mode
//;lcd_frm:              0:disable; 1:enable rgb666 dither; 2:enable rgb656 dither
//;lcd_io_phase:         0:noraml; 1:intert phase(0~3bit: vsync phase; 4~7bit:hsync phase;
//;                      8~11bit:dclk phase; 12~15bit:de phase)
//;lcd_gamma_en          lcd gamma correction enable
//;lcd_bright_curve_en   lcd bright curve correction enable
//;lcd_cmap_en           lcd color map function enable
//;deu_mode              0:smoll lcd screen; 1:large lcd screen(larger than 10inch)
//;lcdgamma4iep:         Smart Backlight parameter, lcd gamma vale * 10;
//;                      decrease it while lcd is not bright enough; increase while lcd is too bright
//;smart_color           90:normal lcd screen 65:retina lcd screen(9.7inch)
//;Pin setting for special function ie.LVDS, RGB data or vsync
//;   name(donot care) = port:PD12<pin function><pull up or pull down><drive ability><output level>
//;Pin setting for gpio:
//;   lcd_gpio_X     = port:PD12<pin function><pull up or pull down><drive ability><output level>
//;Pin setting for backlight enable pin
//;   lcd_bl_en     = port:PD12<pin function><pull up or pull down><drive ability><output level>
//;fsync setting, pulse to csi
//;lcd_fsync_en          (0:disable fsync,1:enable)
//;lcd_fsync_act_time    (active time of fsync, unit:pixel)
//;lcd_fsync_dis_time    (disactive time of fsync, unit:pixel)
//;lcd_fsync_pol         (0:positive;1:negative)
//;gpio config: <&pio for cpu or &r_pio for cpus, port, port num, pio function,
//pull up or pull down(default 0), driver level(default 1), data>
//;For dual link lvds: use lvds2link_pins_a  and lvds2link_pins_b instead
//;For rgb24: use rgb24_pins_a  and rgb24_pins_b instead
//;For lvds1: use lvds1_pins_a  and lvds1_pins_b instead
//;For lvds0: use lvds0_pins_a  and lvds0_pins_b instead
//;----------------------------------------------------------------------------------*/
//		lcd0: lcd0@01c0c000 {
//			lcd_used            = <1>;
//
//			lcd_driver_name     = "bp101wx1";
//			lcd_backlight       = <100>;
//			lcd_if              = <3>;
//
//			lcd_x               = <1024>;
//			lcd_y               = <600>;
//			lcd_width           = <150>;
//			lcd_height          = <94>;
//			lcd_dclk_freq       = <70>;
//
//			lcd_pwm_used        = <1>;
//			lcd_pwm_ch          = <0>;
//			lcd_pwm_freq        = <50000>;
//			lcd_pwm_pol         = <1>;
//			lcd_pwm_max_limit   = <255>;
//
//
//			lcd_hbp             = <120>;
//			lcd_ht              = <1218>;
//			lcd_hspw            = <10>;
//			lcd_vbp             = <10>;
//			lcd_vt              = <636>;
//			lcd_vspw            = <5>;
//
//			lcd_lvds_if         = <0>;
//			lcd_lvds_colordepth = <0>;
//			lcd_lvds_mode       = <1>;
//			lcd_frm             = <0>;
//			lcd_hv_clk_phase    = <0>;
//			lcd_hv_sync_polarity= <0>;
//			lcd_gamma_en        = <0>;
//			lcd_bright_curve_en = <0>;
//			lcd_cmap_en         = <0>;
//			lcd_fsync_en        = <0>;
//			lcd_fsync_act_time  = <1000>;
//			lcd_fsync_dis_time  = <1000>;
//			lcd_fsync_pol       = <0>;
//
//			deu_mode            = <0>;
//			lcdgamma4iep        = <22>;
//			smart_color         = <90>;
//
//			lcd_pin_power = "bldo1";    
//			                                 
//			lcd_power = "dc1sw";
//			lcd_bl_en        = <&pio PD 27 1 0 3 1>;       
//			  
//			lcd_gpio_0       = <&pio PH 4 1 0 3 1>;
//			
//			pinctrl-0 = <&lvds0_pins_a>;
//			pinctrl-1 = <&lvds0_pins_b>;
//
//
//		};

/*----------------------------------------------------------------------------------
;tv configuration
;dac_src            (dac no,support dac_src0~dac_src3,dac num max is 4)
;interface          (interface type,1<->cvbs,2<->YPBPR,4<->SVIDEO)
;dac_type           (0<->composite,1<->luma,2<->chroma,3<->reserved,4<->y/green,
;                    5<->u/pb/blue,6<->v/pr/red)
;NOTE:              tv0,tv1 can not use the same dac_src.
;---------------------------------------------------------------------------------*/

		tv0: tv0@01c94000 {
			status =  "okay";

			dac_src0        = <0>;
			dac_type0       = <0>;

			interface       = <1>;
			tv_power = "cldo4";
		};
/*
		ctp {
			device_type = "ctp";
			status = "okay";
			ctp_twi_id = <0x0>;
			ctp_twi_addr = <0x5d>;
			ctp_screen_max_x = <0x500>;
			ctp_screen_max_y = <0x320>;
			ctp_revert_x_flag = <0x0>;
			ctp_revert_y_flag = <0x0>;
			ctp_exchange_x_y_flag = <0x0>;
			ctp_int_port = <&pio PA 4 6 0xffffffff 0xffffffff 0>;
			ctp_wakeup = <&pio PA 5 1 0xffffffff 0xffffffff 1>;
			ctp-supply = <&reg_dcdc1>;
			ctp_power_ldo_vol = <3300>;
		};
*/		
	};
	gpu: gpu@0x01800000 {
		gpu_idle = <0>;
		dvfs_status = <1>;
		independent_power = <1>;
		operating-points = <
                        /* KHz   uV */
			648000 960000
			600000 900000
			552000 880000
			504000 860000
			456000 840000
			420000 820000
			384000 820000
			360000 810000
			336000 810000
			306000 810000
		>;
		gpu-supply = <&reg_dcdc4>;
	};
};

&aliases {
	pmu0 = &pmu0;
	standby_param = &standby_param;
};

&cpu_trips{
	cpu_crit: cpu_crit@0 {
		temperature = <120000>;
		type = "critical";
		hysteresis = <0>;
	};
};

&twi5 {
	no_suspend = <1>;
	status = "okay";

	pmu0: pmu@36{
		compatible = "x-powers,axp858";
		reg = <0x36>;
		interrupt-parent = <&nmi_intc>;
		interrupts = <0 IRQ_TYPE_LEVEL_LOW>;
		interrupt-controller;
		#interrupt-cells = <1>;

		wakeup-source;

		powerkey0: powerkey@0{
			status = "okay";
			compatible = "x-powers,axp2101-pek";
			pmu_powkey_off_time = <6000>;
			pmu_powkey_off_func = <0>;
			pmu_powkey_off_en = <1>;
			pmu_powkey_long_time = <1500>;
			pmu_powkey_on_time = <1000>;
			wakeup_rising;
			wakeup_falling;
		};

		standby_param: standby_param {
			vcc-io = <0x1>;
			vdd-cpua = <0x2>;
			vdd-sys = <0x4>;
			vdd-res1 = <0x40>;
			vcc-pll = <0x80>;
		};

		regulator0: regulators{
			reg_dcdc1: dcdc1 {
				regulator-name = "axp858-dcdc1";
				regulator-min-microvolt = <1500000>;
				regulator-max-microvolt = <3400000>;
				regulator-step-delay-us = <25>;
				regulator-final-delay-us = <50>;
				regulator-always-on;
			};

			reg_dcdc2: dcdc2 {
				regulator-name = "axp858-dcdc2";
				regulator-min-microvolt = <500000>;
				regulator-max-microvolt = <1540000>;
				regulator-step-delay-us = <25>;
				regulator-final-delay-us = <50>;
				regulator-ramp-delay = <6001>; /* FIXME */
				regulator-always-on;
			};

			reg_dcdc3: dcdc3 {
				regulator-name = "axp858-dcdc3";
				regulator-min-microvolt = <500000>;
				regulator-max-microvolt = <1540000>;
				regulator-step-delay-us = <25>;
				regulator-final-delay-us = <50>;
				regulator-always-on;
			};

			reg_dcdc4: dcdc4 {
				regulator-name = "axp858-dcdc4";
				regulator-min-microvolt = <500000>;
				regulator-max-microvolt = <1540000>;
				regulator-step-delay-us = <25>;
				regulator-final-delay-us = <50>;
				regulator-enable-ramp-delay = <1000>;
			};

			reg_dcdc5: dcdc5 {
				regulator-name = "axp858-dcdc5";
				regulator-min-microvolt = <800000>;
				regulator-max-microvolt = <1840000>;
				regulator-step-delay-us = <25>;
				regulator-final-delay-us = <50>;
				regulator-always-on;
			};

			reg_dcdc6: dcdc6 {
				regulator-name = "axp858-dcdc6";
				regulator-min-microvolt = <500000>;
				regulator-max-microvolt = <3400000>;
				regulator-step-delay-us = <25>;
				regulator-final-delay-us = <50>;
			};

			reg_aldo1: aldo1 {
				regulator-name = "axp858-aldo1";
				regulator-min-microvolt = <700000>;
				regulator-max-microvolt = <3300000>;
				regulator-step-delay-us = <25>;
				regulator-final-delay-us = <50>;
				regulator-always-on;
			};

			reg_aldo2: aldo2 {
				regulator-name = "axp858-aldo2";
				regulator-min-microvolt = <700000>;
				regulator-max-microvolt = <3300000>;
				regulator-step-delay-us = <25>;
				regulator-final-delay-us = <50>;
				regulator-always-on;
			};

			reg_aldo3: aldo3 {
				regulator-name = "axp858-aldo3";
				regulator-min-microvolt = <700000>;
				regulator-max-microvolt = <3300000>;
				regulator-step-delay-us = <25>;
				regulator-final-delay-us = <50>;
			};

			reg_aldo4: aldo4 {
				regulator-name = "axp858-aldo4";
				regulator-min-microvolt = <700000>;
				regulator-max-microvolt = <3300000>;
				regulator-step-delay-us = <25>;
				regulator-final-delay-us = <50>;
				regulator-always-on;
			};

			reg_aldo5: aldo5 {
				regulator-name = "axp858-aldo5";
				regulator-min-microvolt = <1200000>;
				regulator-max-microvolt = <1200000>;
				regulator-step-delay-us = <25>;
				regulator-final-delay-us = <50>;
				regulator-always-on;
			};

			reg_bldo1: bldo1 {
				regulator-name = "axp858-bldo1";
				regulator-min-microvolt = <700000>;
				regulator-max-microvolt = <3300000>;
				regulator-step-delay-us = <25>;
				regulator-final-delay-us = <50>;
				regulator-always-on;
			};

			reg_bldo2: bldo2 {
				regulator-name = "axp858-bldo2";
				regulator-min-microvolt = <700000>;
				regulator-max-microvolt = <3300000>;
				regulator-step-delay-us = <25>;
				regulator-final-delay-us = <50>;
			};

			reg_bldo3: bldo3 {
				regulator-name = "axp858-bldo3";
				regulator-min-microvolt = <700000>;
				regulator-max-microvolt = <3300000>;
				regulator-step-delay-us = <25>;
				regulator-final-delay-us = <50>;
			};

			reg_bldo4: bldo4 {
				regulator-name = "axp858-bldo4";
				regulator-min-microvolt = <700000>;
//				regulator-max-microvolt = <3300000>;
				regulator-max-microvolt = <1800000>;
				regulator-step-delay-us = <25>;
				regulator-final-delay-us = <50>;
				regulator-always-on;
			};

			reg_bldo5: bldo5 {
				regulator-name = "axp858-bldo5";
				regulator-min-microvolt = <700000>;
				regulator-max-microvolt = <3300000>;
				regulator-step-delay-us = <25>;
				regulator-final-delay-us = <50>;
			};

			reg_cldo1: cldo1 {
				regulator-name = "axp858-cldo1";
				regulator-min-microvolt = <700000>;
				regulator-max-microvolt = <3300000>;
				regulator-step-delay-us = <25>;
				regulator-final-delay-us = <50>;
				regulator-always-on;
			};

			reg_cldo2: cldo2 {
				regulator-name = "axp858-cldo2";
				regulator-min-microvolt = <700000>;
//				regulator-max-microvolt = <3300000>;
				regulator-max-microvolt = <1800000>;
				regulator-step-delay-us = <25>;
				regulator-final-delay-us = <50>;
				regulator-always-on;
			};

			reg_cldo3: cldo3 {
				regulator-name = "axp858-cldo3";
				regulator-min-microvolt = <700000>;
				regulator-max-microvolt = <3300000>;
				regulator-step-delay-us = <25>;
				regulator-final-delay-us = <50>;
			};

			reg_cldo4: cldo4 {
				regulator-name = "axp858-cldo4";
				regulator-min-microvolt = <700000>;
				regulator-max-microvolt = <4200000>;
				regulator-step-delay-us = <25>;
				regulator-final-delay-us = <50>;
				regulator-always-on;
			};

			reg_cpusldo: cpusldo {
				regulator-name = "axp858-cpusldo";
				regulator-min-microvolt = <700000>;
				regulator-max-microvolt = <1400000>;
				regulator-step-delay-us = <25>;
				regulator-final-delay-us = <50>;
			};

			reg_sw: sw {
				regulator-name = "axp858-sw";
			};
		};

		virtual-dcdc1 {
			compatible = "xpower-vregulator,dcdc1";
			dcdc1-supply = <&reg_dcdc1>;
		};

		virtual-dcdc2 {
			compatible = "xpower-vregulator,dcdc2";
			dcdc2-supply = <&reg_dcdc2>;
		};

		virtual-dcdc3 {
			compatible = "xpower-vregulator,dcdc3";
			dcdc3-supply = <&reg_dcdc3>;
		};

		virtual-dcdc4 {
			compatible = "xpower-vregulator,dcdc4";
			dcdc4-supply = <&reg_dcdc4>;
		};

		virtual-dcdc5 {
			compatible = "xpower-vregulator,dcdc5";
			dcdc5-supply = <&reg_dcdc5>;
		};

		virtual-dcdc6 {
			compatible = "xpower-vregulator,dcdc6";
			dcdc6-supply = <&reg_dcdc6>;
		};

		virtual-aldo1 {
			compatible = "xpower-vregulator,aldo1";
			aldo1-supply = <&reg_aldo1>;
		};

		virtual-aldo2 {
			compatible = "xpower-vregulator,aldo2";
			aldo2-supply = <&reg_aldo2>;
		};

		virtual-aldo3 {
			compatible = "xpower-vregulator,aldo3";
			aldo3-supply = <&reg_aldo3>;
		};

		virtual-aldo4 {
			compatible = "xpower-vregulator,aldo4";
			aldo4-supply = <&reg_aldo4>;
		};

		virtual-aldo5 {
			compatible = "xpower-vregulator,aldo5";
			aldo5-supply = <&reg_aldo5>;
		};

		virtual-bldo1 {
			compatible = "xpower-vregulator,bldo1";
			bldo1-supply = <&reg_bldo1>;
		};

		virtual-bldo2 {
			compatible = "xpower-vregulator,bldo2";
			bldo2-supply = <&reg_bldo2>;
		};

		virtual-bldo3 {
			compatible = "xpower-vregulator,bldo3";
			bldo3-supply = <&reg_bldo3>;
		};

		virtual-bldo4 {
			compatible = "xpower-vregulator,bldo4";
			bldo4-supply = <&reg_bldo4>;
		};

		virtual-bldo5 {
			compatible = "xpower-vregulator,bldo5";
			bldo5-supply = <&reg_bldo5>;
		};

		virtual-cldo1 {
			compatible = "xpower-vregulator,cldo1";
			cldo1-supply = <&reg_cldo1>;
		};

		virtual-cldo2 {
			compatible = "xpower-vregulator,cldo2";
			cldo2-supply = <&reg_cldo2>;
		};

		virtual-cldo3 {
			compatible = "xpower-vregulator,cldo3";
			cldo3-supply = <&reg_cldo3>;
		};

		virtual-cldo4 {
			compatible = "xpower-vregulator,cldo4";
			cldo4-supply = <&reg_cldo4>;
		};

	};
};

&cpu0 {
	cpu-supply = <&reg_dcdc2>;
};


&csi1 {
	status = "disabled";
};
